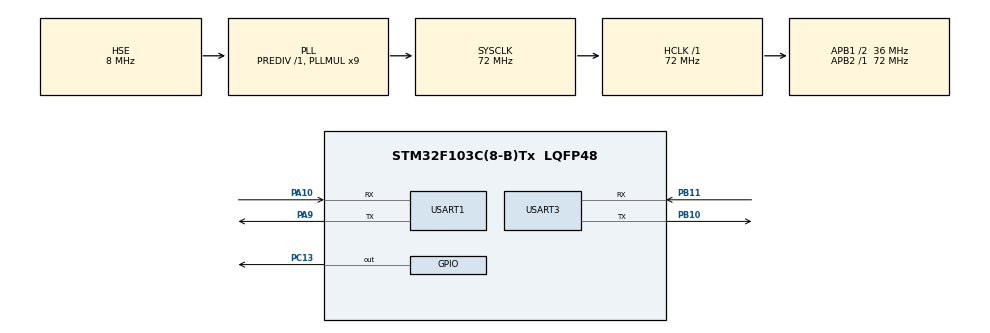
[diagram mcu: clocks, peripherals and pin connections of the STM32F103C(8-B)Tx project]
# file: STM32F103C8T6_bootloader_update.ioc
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Mcu.Family=STM32F1
Mcu.Name=STM32F103C(8-B)Tx
Mcu.Package=LQFP48
NVIC.PriorityGroup=NVIC_PRIORITYGROUP_4
PA10.Mode=Asynchronous
PA10.Signal=USART1_RX
PA13.Mode=Serial_Wire
PA13.Signal=SYS_JTMS-SWDIO
PA14.Mode=Serial_Wire
PA14.Signal=SYS_JTCK-SWCLK
PA9.Mode=Asynchronous
PA9.Signal=USART1_TX
PB10.Mode=Asynchronous
PB10.Signal=USART3_TX
PB11.Mode=Asynchronous
PB11.Signal=USART3_RX
PC13-TAMPER-RTC.Signal=GPIO_Output
PD0-OSC_IN.Mode=HSE-External-Oscillator
PD0-OSC_IN.Signal=RCC_OSC_IN
PD1-OSC_OUT.Mode=HSE-External-Oscillator
PD1-OSC_OUT.Signal=RCC_OSC_OUT
ProjectManager.HeapSize=0x200
ProjectManager.StackSize=0x400
ProjectManager.TargetToolchain=STM32CubeIDE
RCC.AHBFreq_Value=72000000
RCC.APB1CLKDivider=RCC_HCLK_DIV2
RCC.APB1Freq_Value=36000000
RCC.APB1TimFreq_Value=72000000
RCC.APB2Freq_Value=72000000
RCC.APB2TimFreq_Value=72000000
RCC.HCLKFreq_Value=72000000
RCC.PLLMUL=RCC_PLL_MUL9
RCC.PLLSourceVirtual=RCC_PLLSOURCE_HSE
RCC.SYSCLKFreq_VALUE=72000000
RCC.SYSCLKSource=RCC_SYSCLKSOURCE_PLLCLK
RCC.USBFreq_Value=48000000
RCC.USBPrescaler=RCC_USBCLKSOURCE_PLL_DIV1_5
USART1.VirtualMode=VM_ASYNC
USART3.VirtualMode=VM_ASYNC
board=custom

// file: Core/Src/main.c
/* USER CODE BEGIN Header */
/**
  ******************************************************************************
  * @file           : main.c
  * @brief          : Main program body
  ******************************************************************************
  * @attention
  *
  * Copyright (c) 2024 STMicroelectronics.
  * All rights reserved.
  *
  * This software is licensed under terms that can be found in the LICENSE file
  * in the root directory of this software component.
  * If no LICENSE file comes with this software, it is provided AS-IS.
  *
  ******************************************************************************
  */
/* USER CODE END Header */
#include "main.h"

/* USER CODE BEGIN Includes */

#include <stdio.h>
#include <string.h>

#include "ext_ota_update.h"

/* USER CODE END Includes */

UART_HandleTypeDef huart1;
UART_HandleTypeDef huart3;

void SystemClock_Config(void);
static void MX_GPIO_Init(void);
static void MX_USART1_UART_Init(void);
static void MX_USART3_UART_Init(void);
/* USER CODE BEGIN PFP */

static void Goto_Application(void);

/* USER CODE END PFP */

int main(void)
{

  /* MCU Configuration--------------------------------------------------------*/

  /* Reset of all peripherals, Initializes the Flash interface and the Systick. */
  HAL_Init();

  /* Configure the system clock */
  SystemClock_Config();

  /* Initialize all configured peripherals */
  MX_GPIO_Init();
  MX_USART1_UART_Init();
  MX_USART3_UART_Init();
  /* USER CODE BEGIN 2 */

  printf("Starting bootloader version 0.3");
  for(uint8_t i = 0; i < 30; ++i)
  {
	  HAL_GPIO_TogglePin(GPIOC, GPIO_PIN_13);
	  HAL_Delay(50);
  }

  EXT_GNRL_CONFIG *cfg = (EXT_GNRL_CONFIG*)(EXT_CONFIG_FLASH_ADD);
  static uint8_t ota_mode = 0;

  switch(cfg->reboot_cause)
  {
	  case EXT_NORMAL_BOOT:
	  {
		  printf("Normal boot\r\n");
		  break;
	  }

	  case EXT_OTA_REQUEST:
	  case EXT_FIRST_TIME_BOOT:
	  {
		  printf("First time boot/ OTA request ... \r\n");
		  printf("Going to the OTA mode\r\n");
		  ota_mode = 1;
		  break;
	  }
	  case EXT_LOAD_PREV_APP:
		  break;
	  default:
		  break;
  }

  if(ota_mode)
  {
	if(EXT_OTA_Update() != EXT_OTA_EX_OK)
	{
	  printf("Error: OTA update halted!\r\n");
	  while(1);
	}
	else
	{
	  printf("Firmware update is done||| Rebooting...\r\n");
	}
  }
  // Load new application if available
  EXT_OTA_Load_New_App();
  // Go to the new application in Flash memory
  Goto_Application();

  /* USER CODE END 2 */

  /* Infinite loop */
  while (1)
  {

  }
}

void SystemClock_Config(void)
{
  RCC_OscInitTypeDef RCC_OscInitStruct = {0};
  RCC_ClkInitTypeDef RCC_ClkInitStruct = {0};

  /** Initializes the RCC Oscillators according to the specified parameters
  * in the RCC_OscInitTypeDef structure.
  */
  RCC_OscInitStruct.OscillatorType = RCC_OSCILLATORTYPE_HSE;
  RCC_OscInitStruct.HSEState = RCC_HSE_ON;
  RCC_OscInitStruct.HSEPredivValue = RCC_HSE_PREDIV_DIV1;
  RCC_OscInitStruct.HSIState = RCC_HSI_ON;
  RCC_OscInitStruct.PLL.PLLState = RCC_PLL_ON;
  RCC_OscInitStruct.PLL.PLLSource = RCC_PLLSOURCE_HSE;
  RCC_OscInitStruct.PLL.PLLMUL = RCC_PLL_MUL9;
  if (HAL_RCC_OscConfig(&RCC_OscInitStruct) != HAL_OK)
  {
    Error_Handler();
  }

  /** Initializes the CPU, AHB and APB buses clocks
  */
  RCC_ClkInitStruct.ClockType = RCC_CLOCKTYPE_HCLK|RCC_CLOCKTYPE_SYSCLK
                              |RCC_CLOCKTYPE_PCLK1|RCC_CLOCKTYPE_PCLK2;
  RCC_ClkInitStruct.SYSCLKSource = RCC_SYSCLKSOURCE_PLLCLK;
  RCC_ClkInitStruct.AHBCLKDivider = RCC_SYSCLK_DIV1;
  RCC_ClkInitStruct.APB1CLKDivider = RCC_HCLK_DIV2;
  RCC_ClkInitStruct.APB2CLKDivider = RCC_HCLK_DIV1;

  if (HAL_RCC_ClockConfig(&RCC_ClkInitStruct, FLASH_LATENCY_2) != HAL_OK)
  {
    Error_Handler();
  }
}

static void MX_USART1_UART_Init(void)
{

  huart1.Instance = USART1;
  huart1.Init.BaudRate = 115200;
  huart1.Init.WordLength = UART_WORDLENGTH_8B;
  huart1.Init.StopBits = UART_STOPBITS_1;
  huart1.Init.Parity = UART_PARITY_NONE;
  huart1.Init.Mode = UART_MODE_TX_RX;
  huart1.Init.HwFlowCtl = UART_HWCONTROL_NONE;
  huart1.Init.OverSampling = UART_OVERSAMPLING_16;
  if (HAL_UART_Init(&huart1) != HAL_OK)
  {
    Error_Handler();
  }

}

static void MX_USART3_UART_Init(void)
{

  huart3.Instance = USART3;
  huart3.Init.BaudRate = 115200;
  huart3.Init.WordLength = UART_WORDLENGTH_8B;
  huart3.Init.StopBits = UART_STOPBITS_1;
  huart3.Init.Parity = UART_PARITY_NONE;
  huart3.Init.Mode = UART_MODE_TX_RX;
  huart3.Init.HwFlowCtl = UART_HWCONTROL_NONE;
  huart3.Init.OverSampling = UART_OVERSAMPLING_16;
  if (HAL_UART_Init(&huart3) != HAL_OK)
  {
    Error_Handler();
  }

}

static void MX_GPIO_Init(void)
{
  GPIO_InitTypeDef GPIO_InitStruct = {0};

  /* GPIO Ports Clock Enable */
  __HAL_RCC_GPIOC_CLK_ENABLE();
  __HAL_RCC_GPIOD_CLK_ENABLE();
  __HAL_RCC_GPIOB_CLK_ENABLE();
  __HAL_RCC_GPIOA_CLK_ENABLE();

  /*Configure GPIO pin Output Level */
  HAL_GPIO_WritePin(GPIOC, GPIO_PIN_13, GPIO_PIN_RESET);

  /*Configure GPIO pin : PC13 */
  GPIO_InitStruct.Pin = GPIO_PIN_13;
  GPIO_InitStruct.Mode = GPIO_MODE_OUTPUT_PP;
  GPIO_InitStruct.Pull = GPIO_NOPULL;
  GPIO_InitStruct.Speed = GPIO_SPEED_FREQ_LOW;
  HAL_GPIO_Init(GPIOC, &GPIO_InitStruct);

}

/* USER CODE BEGIN 4 */

#ifdef __GNUC__
int __io_putchar(int ch)
#else
int fputc(int ch, FILE* f)
#endif
{
	HAL_UART_Transmit(&huart3, (uint8_t*)&ch, 1, 500);

	return ch;
}

// Function to jump to the application
static void Goto_Application(void)
{
	printf("Jumping to the application!");
	void (*AppReset_Handler)(void) = (void*)(*((volatile uint32_t*)(EXT_APP_START_ADD + 4U)));
	if(AppReset_Handler == (void*)0xFFFFFFFF)

	{
		printf("Error: Invalid application!");
		while(1);
	}
	// De-init all the peripherals and clock system
	HAL_RCC_DeInit();
	HAL_DeInit();
	// Turn off all the fault handler
	SCB->SHCSR &= ~( SCB_SHCSR_USGFAULTENA_Msk | SCB_SHCSR_BUSFAULTENA_Msk | SCB_SHCSR_MEMFAULTENA_Msk ) ;
	// Set main stack pointer
	__set_MSP(*(volatile uint32_t*) EXT_APP_START_ADD);
	// Clear sysTick timer
	SysTick->CTRL = 0;
	SysTick->LOAD = 0;
	SysTick->VAL = 0;

	HAL_GPIO_WritePin(GPIOC, GPIO_PIN_13, GPIO_PIN_RESET);

	AppReset_Handler();
}

/* USER CODE END 4 */

void Error_Handler(void)
{
  __disable_irq();
  while (1)
  {
  }
}
